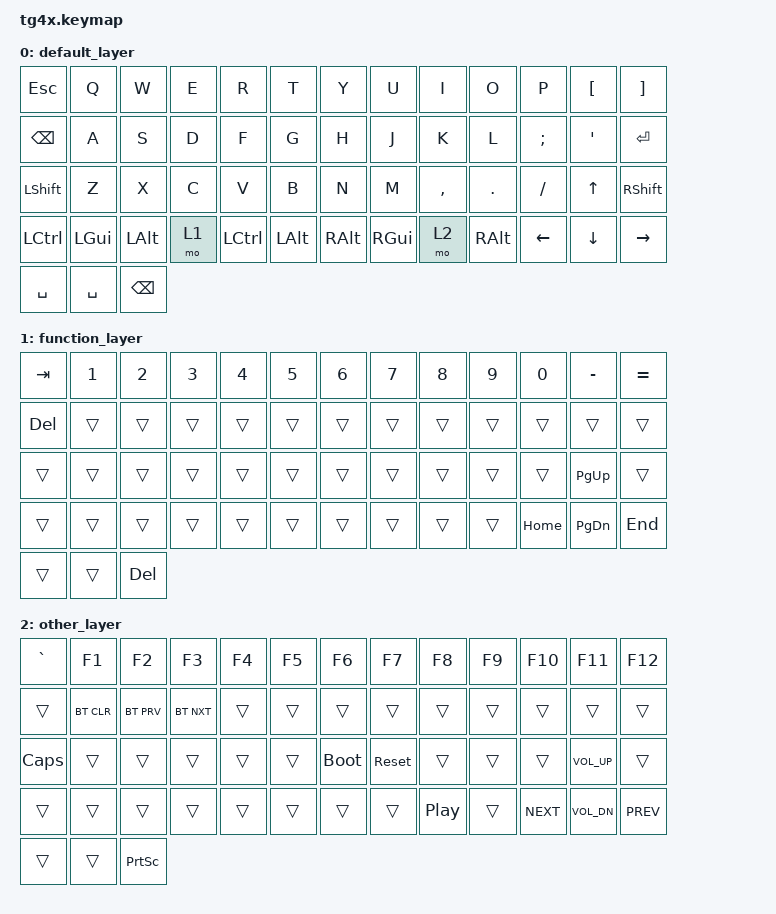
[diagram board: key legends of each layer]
/*
 * Copyright (c) 2020 The ZMK Contributors
 *
 * SPDX-License-Identifier: MIT
pin matrix changed
 */

#include <behaviors.dtsi>
#include <dt-bindings/zmk/keys.h>
#include <dt-bindings/zmk/bt.h>

#define DEFAULT_LAYER  0
#define FUNCTION_LAYER 1
#define OTHER_LAYER    2

/ {
    behaviors {
        ht: hold_tap {
            compatible = "zmk,behavior-hold-tap";
            #binding-cells = <2>;
            tapping-term-ms = <200>;
            flavor = "tap-preferred";
            bindings = <&kp>, <&kp>;
        };
    };

    keymap {
        compatible = "zmk,keymap";

        default_layer {
            bindings = <
//C0         C1        C2       C3          C4         C5        C6        C7        C8          C9             C10            C11         C12        
&kp ESC      &kp Q     &kp W    &kp E       &kp R      &kp T     &kp Y     &kp U     &kp I       &kp O          &kp P          &kp LBKT    &kp RBKT 
&kp BSPC     &kp A     &kp S    &kp D       &kp F      &kp G     &kp H     &kp J     &kp K       &kp L          &kp SEMI       &kp APOS    &kp RET
&kp LSHFT    &kp Z     &kp X    &kp C       &kp V      &kp B     &kp N     &kp M     &kp COMMA   &kp DOT        &kp FSLH       &kp UP      &kp RSHFT
&kp LCTRL    &kp LGUI  &kp LALT &mo 1       &kp LCTRL  &kp LALT  &kp RALT  &kp RGUI  &mo 2       &kp RALT       &kp LEFT       &kp DOWN    &kp RIGHT
&kp SPACE    &kp SPACE &kp BSPC
            >;
        };

        function_layer {
            bindings = <
//C0      C1       C2        C3       C4       C5       C6       C7       C8        C9       C10      C11        C12      
&kp TAB   &kp N1   &kp N2    &kp N3   &kp N4   &kp N5   &kp N6   &kp N7   &kp N8    &kp N9   &kp N0   &kp MINUS  &kp EQUAL 
&kp DEL   &trans   &trans    &trans   &trans   &trans   &trans   &trans   &trans    &trans   &trans   &trans     &trans
&trans    &trans   &trans    &trans   &trans   &trans   &trans   &trans   &trans    &trans   &trans   &kp PG_UP  &trans
&trans    &trans   &trans    &trans   &trans   &trans   &trans   &trans   &trans    &trans   &kp HOME &kp PG_DN  &kp END
&trans    &trans   &kp DEL
            >;
        };

        other_layer {
            bindings = <
//C0      C1         C2         C3         C4       C5       C6           C7         C8         C9         C10         C11           C12     
&kp GRAVE &kp F1     &kp F2     &kp F3     &kp F4   &kp F5   &kp F6       &kp F7     &kp F8     &kp F9     &kp F10     &kp F11       &kp F12   
&trans    &bt BT_CLR &bt BT_PRV &bt BT_NXT &trans   &trans   &trans       &trans     &trans     &trans     &trans      &trans        &trans 
&kp CAPS  &trans     &trans     &trans     &trans   &trans   &bootloader  &sys_reset &trans     &trans     &trans      &kp C_VOL_UP  &trans
&trans    &trans     &trans     &trans     &trans   &trans   &trans       &trans     &kp C_PP   &trans     &kp K_NEXT  &kp C_VOL_DN  &kp K_PREV
&trans    &trans     &kp PSCRN
            >;
        };

    };
};
